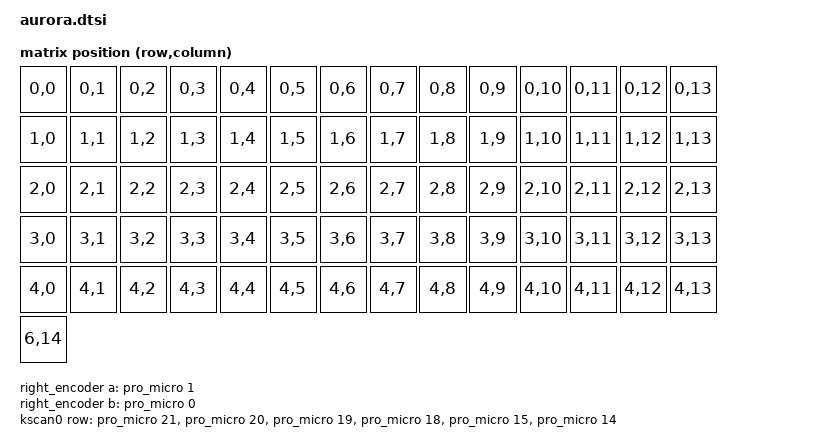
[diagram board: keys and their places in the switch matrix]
#include <dt-bindings/zmk/matrix_transform.h>

/ {
    chosen {
        zmk,kscan = &kscan0;
        zmk,matrix_transform = &default_transform;
    };

    right_encoder: encoder_right {
        compatible = "alps,ec11";
        a-gpios = <&pro_micro 1 (GPIO_ACTIVE_HIGH | GPIO_PULL_UP)>;
        b-gpios = <&pro_micro 0 (GPIO_ACTIVE_HIGH | GPIO_PULL_UP)>;
        steps = <80>;
        status = "disabled";
    };

    sensors: sensors {
        compatible = "zmk,keymap-sensors";
        sensors = <&right_encoder>;
        triggers-per-rotation = <20>;
    };

    default_transform: keymap_transform_0 {
        compatible = "zmk,matrix-transform";
        rows = <6>;
        columns = <15>;
        // | Key 1  | Key 2  | Key 3  | Key 4  | Key 5  | Key 6  |                 | Key 1  | Key 2  | Key 3  | Key 4  | Key 5  | Key 6  | Key 7  | Key 8  |
        // | Key 7  | Key 8  | Key 9  | Key 10 | Key 11 | Key 12 |                 | Key 9  | Key 10 | Key 11 | Key 12 | Key 13 | Key 14 | Key 15 | Key 16 |
        // | Key 13 | Key 14 | Key 15 | Key 16 | Key 17 | Key 18 |                 | Key 17 | Key 18 | Key 19 | Key 20 | Key 21 | Key 22 |    -   | Key 23 |
        // | Key 19 | Key 20 | Key 21 | Key 22 | Key 23 | Key 24 |                 | Key 24 | Key 25 | Key 26 | Key 27 | Key 28 | Key 29 | Key 30 | Key 31 |
        // | Key 25 | Key 26 |    -   | Key 27 |    -   | Key 28 |                 | Key 32 | Key 33 | Key 34 | Key 35 |    -   | Key 36 | Key 37 | Key 38 |
        // | Rotary Encoder Click |
        map = <
            RC(0,0) RC(0,1) RC(0,2) RC(0,3) RC(0,4) RC(0,5)                 RC(0,6) RC(0,7) RC(0,8) RC(0,9) RC(0,10) RC(0,11) RC(0,12) RC(0,13)
            RC(1,0) RC(1,1) RC(1,2) RC(1,3) RC(1,4) RC(1,5)                 RC(1,6) RC(1,7) RC(1,8) RC(1,9) RC(1,10) RC(1,11) RC(1,12) RC(1,13)
            RC(2,0) RC(2,1) RC(2,2) RC(2,3) RC(2,4) RC(2,5)                 RC(2,6) RC(2,7) RC(2,8) RC(2,9) RC(2,10) RC(2,11) RC(2,12) RC(2,13)
            RC(3,0) RC(3,1) RC(3,2) RC(3,3) RC(3,4) RC(3,5)                 RC(3,6) RC(3,7) RC(3,8) RC(3,9) RC(3,10) RC(3,11) RC(3,12) RC(3,13)
            RC(4,0) RC(4,1) RC(4,2) RC(4,3) RC(4,4) RC(4,5)                 RC(4,6) RC(4,7) RC(4,8) RC(4,9) RC(4,10) RC(4,11) RC(4,12) RC(4,13)

            RC(6,14)
        >;
    };

    kscan0: kscan {
        compatible = "zmk,kscan-gpio-matrix";
        diode-direction = "col2row";
        wakeup-source;
        row-gpios
            = <&pro_micro 21 (GPIO_ACTIVE_HIGH | GPIO_PULL_DOWN)>
            , <&pro_micro 20 (GPIO_ACTIVE_HIGH | GPIO_PULL_DOWN)>
            , <&pro_micro 19 (GPIO_ACTIVE_HIGH | GPIO_PULL_DOWN)>
            , <&pro_micro 18 (GPIO_ACTIVE_HIGH | GPIO_PULL_DOWN)>
            , <&pro_micro 15 (GPIO_ACTIVE_HIGH | GPIO_PULL_DOWN)>
            , <&pro_micro 14 (GPIO_ACTIVE_HIGH | GPIO_PULL_DOWN)>; // Encoder click button
    };
};

&pinctrl {
    spi0_default: spi0_default {
        group1 {
            psels = <NRF_PSEL(SPIM_SCK, 1, 7)>,
                <NRF_PSEL(SPIM_MOSI, 1, 2)>,
                <NRF_PSEL(SPIM_MISO, 0, 25)>;
        };
    };
    spi0_sleep: spi0_sleep {
        group1 {
            psels = <NRF_PSEL(SPIM_SCK, 1, 7)>,
                <NRF_PSEL(SPIM_MOSI, 1, 2)>,
                <NRF_PSEL(SPIM_MISO, 0, 25)>;
            low-power-enable;
        };
    };
};

nice_view_spi: &spi0 {
    compatible = "nordic,nrf-spim";
    status = "okay";
    pinctrl-0 = <&spi0_default>;
    pinctrl-1 = <&spi0_sleep>;
    pinctrl-names = "default", "sleep";
    cs-gpios = <&gpio1 1 GPIO_ACTIVE_HIGH>;
};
